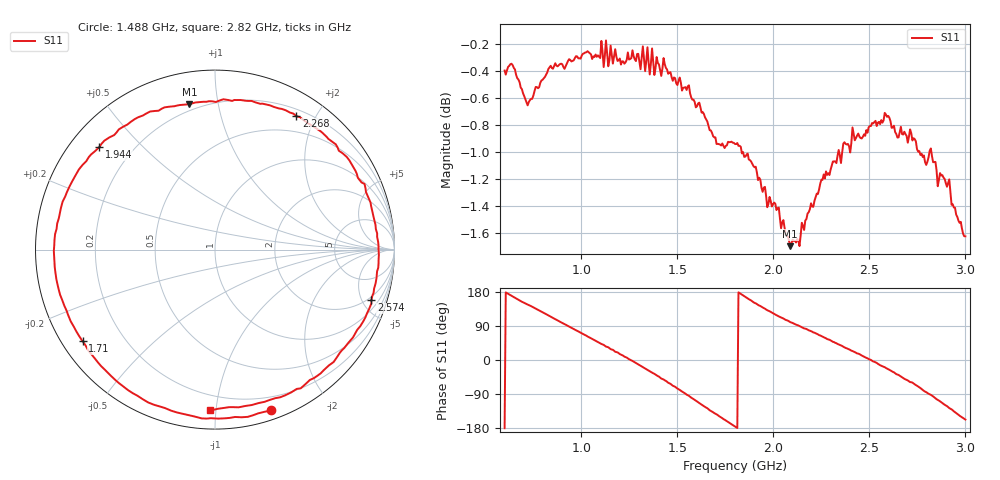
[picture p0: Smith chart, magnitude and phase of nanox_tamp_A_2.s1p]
! nanovna_capture.py 2026-10-18T19:29:29+0900
! NanoVNA-F_V2 fw 0.6.0 SN 4A3639384505514B
! cal: load open short cal'ed  over 600000000-3000000000 Hz, 201 points
! points 401, avg 4
! modified (implanted) Nano X, position A (behind left button, over implant antenna), tip touching shell, placement 2
# HZ S RI R 50
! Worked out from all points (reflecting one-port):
!   401 points, 600 MHz to 3 GHz, reference 50 ohm
!   lowest |S11| = -1.7 dB at 2.088 GHz (marker M1), VSWR 10.26, Z = 8.25 + j41.3 ohm
!   phase of S11 starts at -180 deg and turns -697 deg over the sweep
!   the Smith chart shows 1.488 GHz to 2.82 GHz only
!   S11 on the Smith chart (normalised r, x): 1.488 GHz: 0.08, -1.41; 1.71 GHz: 0.06, -0.31; 1.944 GHz: 0.09, +0.38; 2.268 GHz: 0.28, +1.74; 2.574 GHz: 1.68, -5.86; 2.82 GHz: 0.11, -0.96
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6e8  -0.9553 -0.000396
7.5e8  -0.7041 0.6156
8.28e8  -0.4467 0.8459
9e8  -0.1294 0.9517
1.032e9  0.4545 0.8583
1.116e9  0.735 0.6147
1.2e9  0.9294 0.2603
1.266e9  0.9711 -0.0413
1.332e9  0.8841 -0.3605
1.422e9  0.6111 -0.7365
1.488e9  0.3145 -0.8955
1.5e9  0.2395 -0.9127
1.602e9  -0.3108 -0.873
1.71e9  -0.7377 -0.511
1.8e9  -0.8946 -0.07
1.872e9  -0.8346 0.2959
1.944e9  -0.6448 0.5712
2.016e9  -0.401 0.7474
2.088e9  -0.1425 0.81
2.1e9  -0.11 0.8195
2.268e9  0.4529 0.7443
2.4e9  0.7961 0.3998
2.496e9  0.9091 0.0426
2.574e9  0.871 -0.2822
2.7e9  0.5284 -0.7264
2.82e9  -0.0304 -0.8934
2.904e9  -0.4544 -0.7362
3e9  -0.7638 -0.323
